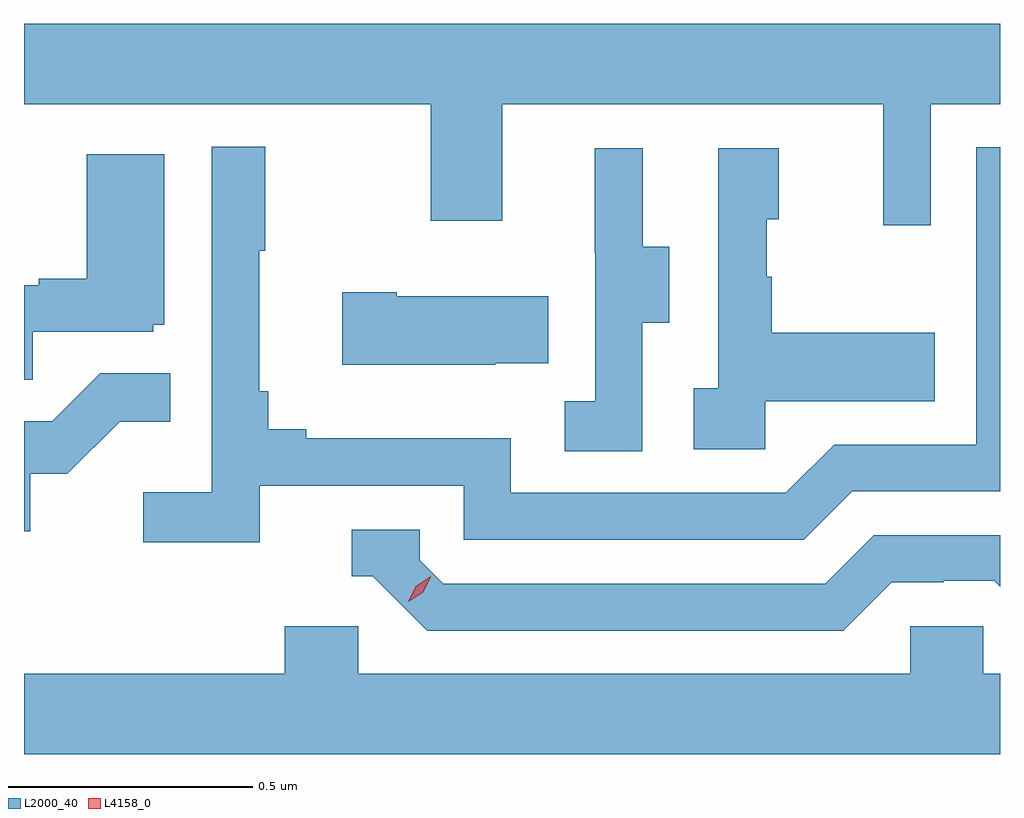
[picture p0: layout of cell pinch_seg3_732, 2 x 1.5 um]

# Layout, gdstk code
import gdstk
lib = gdstk.Library(unit=1e-6, precision=1e-09)
def P(c, l, *ps):  # polygons
    for p in ps: c.add(gdstk.Polygon(p, *l))
L2000_40 = (2000, 40)
L4158_0 = (4158, 0)

pinch_seg3_732 = lib.new_cell('pinch_seg3_732')
P(pinch_seg3_732, L2000_40, [(1126.779,670.28),(1126.921,670.28),(1126.921,670.444),(1124.921,670.444),(1124.921,670.28),(1125.754,670.28),(1125.754,670.041),(1125.901,670.041),(1125.901,670.28),(1126.682,670.28),(1126.682,670.032),(1126.779,670.032)],
  [(1125.404,669.498),(1125.822,669.498),(1125.822,669.387),(1126.519,669.387),(1126.618,669.486),(1126.921,669.486),(1126.921,670.191),(1126.872,670.191),(1126.872,669.582),(1126.581,669.582),(1126.482,669.483),(1125.918,669.483),(1125.918,669.595),(1125.499,669.595),(1125.499,669.614),(1125.422,669.614),(1125.422,669.691),(1125.403,669.691),(1125.403,669.979),(1125.415,669.979),(1125.415,670.192),(1125.306,670.192),(1125.306,669.484),(1125.165,669.484),(1125.165,669.382),(1125.404,669.382)],
  [(1126.44,669.671),(1126.787,669.671),(1126.787,669.811),(1126.453,669.811),(1126.453,669.926),(1126.443,669.926),(1126.443,670.044),(1126.468,670.044),(1126.468,670.189),(1126.344,670.189),(1126.344,669.698),(1126.293,669.698),(1126.293,669.573),(1126.44,669.573)],
  [(1126.188,669.832),(1126.243,669.832),(1126.243,669.987),(1126.189,669.987),(1126.189,670.189),(1126.091,670.189),(1126.091,669.975),(1126.092,669.975),(1126.092,669.671),(1126.029,669.671),(1126.029,669.568),(1126.188,669.568)],
  [(1124.939,669.813),(1125.186,669.813),(1125.186,669.828),(1125.208,669.828),(1125.208,670.177),(1125.05,670.177),(1125.05,669.922),(1124.951,669.922),(1124.951,669.909),(1124.921,669.909),(1124.921,669.715),(1124.939,669.715)],
  [(1125.887,669.749),(1125.995,669.749),(1125.995,669.886),(1125.685,669.886),(1125.685,669.894),(1125.573,669.894),(1125.573,669.746),(1125.887,669.746)],
  [(1124.934,669.522),(1125.01,669.522),(1125.117,669.629),(1125.221,669.629),(1125.221,669.728),(1125.077,669.728),(1124.979,669.63),(1124.921,669.63),(1124.921,669.405),(1124.934,669.405)],
  [(1126.699,669.3),(1126.806,669.3),(1126.806,669.303),(1126.909,669.303),(1126.921,669.291),(1126.921,669.396),(1126.662,669.396),(1126.563,669.297),(1125.78,669.297),(1125.732,669.345),(1125.732,669.408),(1125.593,669.408),(1125.593,669.312),(1125.636,669.312),(1125.747,669.201),(1126.6,669.201)],
  [(1126.921,669.112),(1126.887,669.112),(1126.887,669.21),(1126.737,669.21),(1126.737,669.112),(1125.606,669.112),(1125.606,669.21),(1125.455,669.21),(1125.455,669.112),(1124.921,669.112),(1124.921,668.948),(1126.921,668.948)])
P(pinch_seg3_732, L4158_0, [(1125.708,669.26),(1125.708,669.26),(1125.724,669.292),(1125.755,669.312),(1125.755,669.312),(1125.755,669.311),(1125.739,669.279),(1125.708,669.26)])

lib.write_gds('pinch_seg3_732.gds')
